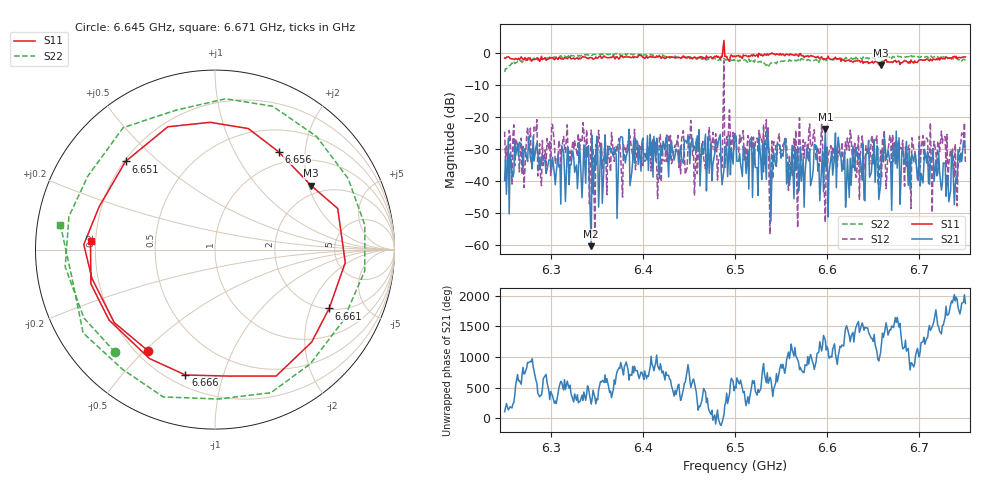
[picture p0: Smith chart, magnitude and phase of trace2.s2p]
# Hz S RI R 50
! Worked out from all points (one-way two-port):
!   401 points, 6.25 GHz to 6.75 GHz, reference 50 ohm
!   highest |S21| = -23.80 dB at 6.598 GHz (marker M1); lowest = -60.2 dB at 6.344 GHz (marker M2)
!   lowest |S11| = -3.8 dB at 6.658 GHz (marker M3), VSWR 4.61, Z = 85.8 + j104 ohm
!   |S11| at or under -10 dB: nowhere
!   |S22| runs from -6.0 to -0.1 dB; largest |S21 - S12| = 0.76
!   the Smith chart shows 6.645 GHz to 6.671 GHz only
!   S11 on the Smith chart (normalised r, x): 6.645 GHz: 0.25, -0.51; 6.651 GHz: 0.21, +0.39; 6.656 GHz: 0.81, +1.53; 6.661 GHz: 2.04, -2.73; 6.666 GHz: 0.26, -0.76; 6.671 GHz: 0.18, +0.03
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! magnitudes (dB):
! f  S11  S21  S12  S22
! 6.25 GHz  -1.7  -39.8  -24.6  -6.0
! 6.266 GHz  -2.3  -27.9  -37.1  -2.7
! 6.334 GHz  -1.4  -45.2  -27.9  -0.7
! 6.344 GHz  -1.6  -60.2  -24.1  -0.9
! 6.418 GHz  -1.2  -39.2  -26.2  -0.7
! 6.5 GHz  -1.2  -25.8  -25.2  -2.6
! 6.534 GHz  -0.8  -39.4  -20.9  -4.1
! 6.54 GHz  -0.1  -37.5  -27.5  -3.1
! 6.545 GHz  -0.4  -33.9  -35.4  -3.5
! 6.56 GHz  -0.4  -38.5  -38.5  -2.5
! 6.584 GHz  -1.1  -38.7  -28.6  -2.3
! 6.598 GHz  -2.0  -23.8  -52.9  -2.1
! 6.645 GHz  -3.4  -27.3  -29.3  -2.0
! 6.651 GHz  -3.1  -27.1  -28.3  -1.4
! 6.656 GHz  -3.7  -45.7  -41.8  -1.4
! 6.658 GHz  -3.8  -41.2  -30.5  -1.5
! 6.661 GHz  -2.9  -34.1  -29.2  -1.8
! 6.666 GHz  -2.9  -30.3  -30.6  -1.2
! 6.668 GHz  -3.0  -33.8  -25.7  -1.5
! 6.671 GHz  -3.2  -35.1  -25.5  -1.2
! 6.731 GHz  -1.9  -38.9  -41.4  -1.8
! 6.75 GHz  -1.4  -29.3  -34.4  -2.4
